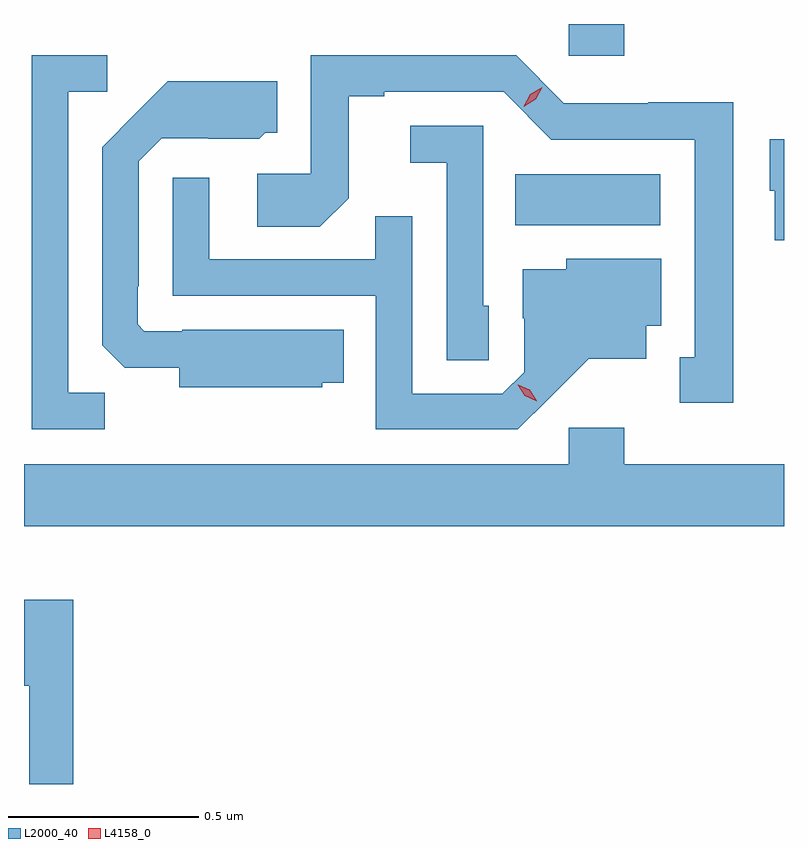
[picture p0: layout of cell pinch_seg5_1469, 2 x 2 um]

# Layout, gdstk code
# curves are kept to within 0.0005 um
import gdstk
lib = gdstk.Library(unit=1e-6, precision=1e-09)
def R(c, l, rs):  # rectangles x0, y0, x1, y1
    for r in rs: c.add(gdstk.rectangle(r[:2], r[2:], *l))
def P(c, l, *ps):  # polygons
    for p in ps: c.add(gdstk.Polygon(p, *l))
L2000_40 = (2000, 40)
L4158_0 = (4158, 0)

pinch_seg5_1469 = lib.new_cell('pinch_seg5_1469')
R(pinch_seg5_1469, L2000_40, [(128.266,914.828,128.647,914.962), (128.406,915.275,128.553,915.358)])
P(pinch_seg5_1469, L2000_40, [(128.839,915.152),(128.616,915.152),(128.616,915.15),(128.394,915.15),(128.268,915.276),(127.728,915.276),(127.728,914.964),(127.587,914.964),(127.587,914.824),(127.751,914.824),(127.827,914.9),(127.827,915.168),(127.921,915.168),(127.921,915.18),(128.235,915.18),(128.361,915.054),(128.738,915.054),(128.738,914.481),(128.699,914.481),(128.699,914.361),(128.839,914.361)],
  [(127.185,914.387),(127.089,914.387),(127.089,915.18),(127.192,915.18),(127.192,915.276),(126.993,915.276),(126.993,914.292),(127.185,914.292)],
  [(127.758,914.414),(127.814,914.414),(127.814,914.554),(127.39,914.554),(127.39,914.55),(127.29,914.55),(127.272,914.568),(127.272,914.668),(127.275,914.668),(127.275,914.997),(127.335,915.057),(127.458,915.057),(127.458,915.056),(127.592,915.056),(127.608,915.072),(127.639,915.072),(127.639,915.208),(127.351,915.208),(127.179,915.034),(127.179,914.512),(127.238,914.453),(127.382,914.453),(127.382,914.402),(127.758,914.402)],
  [(128.196,914.616),(128.181,914.616),(128.181,915.09),(127.989,915.09),(127.989,914.993),(128.085,914.993),(128.085,914.473),(128.196,914.473)],
  [(128.973,915.055),(128.936,915.055),(128.936,914.919),(128.948,914.919),(128.948,914.789),(128.973,914.789)],
  [(128.356,914.375),(128.459,914.477),(128.611,914.477),(128.611,914.564),(128.65,914.564),(128.65,914.74),(128.4,914.74),(128.4,914.713),(128.285,914.713),(128.285,914.584),(128.289,914.584),(128.289,914.442),(128.232,914.385),(127.995,914.385),(127.995,914.852),(127.897,914.852),(127.897,914.739),(127.461,914.739),(127.461,914.953),(127.365,914.953),(127.365,914.643),(127.899,914.643),(127.899,914.292),(128.272,914.292)],
  [(128.973,914.2),(128.553,914.2),(128.553,914.296),(128.406,914.296),(128.406,914.2),(126.973,914.2),(126.973,914.036),(128.973,914.036)],
  [(127.103,913.843),(126.973,913.843),(126.973,913.617),(126.987,913.617),(126.987,913.358),(127.103,913.358)])
P(pinch_seg5_1469, L4158_0, [(128.288,915.14),(128.288,915.141),(128.305,915.173),(128.337,915.192),(128.337,915.192),(128.337,915.192),(128.32,915.16),(128.288,915.14)],
  [(128.322,914.365),(128.291,914.38),(128.272,914.409),(128.272,914.409),(128.273,914.409),(128.304,914.395),(128.322,914.366),(128.322,914.365)])

lib.write_gds('pinch_seg5_1469.gds')
